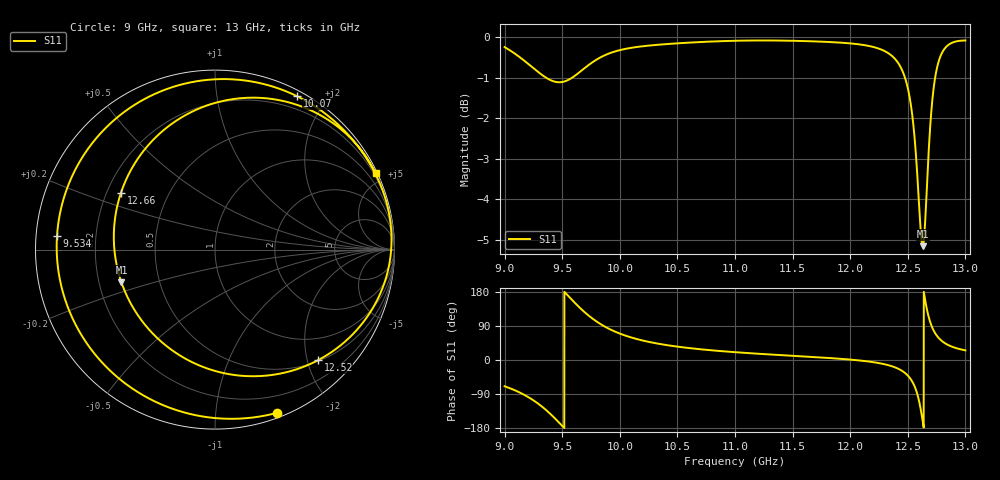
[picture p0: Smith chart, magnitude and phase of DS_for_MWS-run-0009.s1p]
! TOUCHSTONE file generated by CST DESIGN STUDIO
! Date and time: Tue Feb  4 15:51:16 2025
! Project name: C:\Work\MatlabApps\UnitCellOptimizationMatlab\CST\unitcell.cst
! Tree item: Tasks\Sweep1\SPara1\S-Parameters
! Header version: 2024
! Port assignment regex: !\s*Touchstone port\s*([0-9]+)\s*=\s*(CST MWS port|CST DES external port|CST DES block port)\s*(.+)\s* \(\"(.*)\"\)(\s*mode\s*([0-9]+))?.*
! Touchstone port assignment:
! Touchstone port 1 = CST DES external port 1 ("")
# GHz S MA R 50
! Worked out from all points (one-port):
!   4001 points, 9 GHz to 13 GHz, reference 50 ohm
!   lowest |S11| = -5.2 dB at 12.63 GHz (marker M1), VSWR 3.47, Z = 14.8 - j7.77 ohm
!   |S11| at or under -10 dB: nowhere
!   S11 on the Smith chart (normalised r, x): 9 GHz: 0.04, -1.45; 9.534 GHz: 0.06, +0.04; 10.07 GHz: 0.06, +1.67; 12.52 GHz: 0.52, -2.19; 12.66 GHz: 0.26, +0.26; 13 GHz: 0.09, +4.43
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9  0.9725 -69.3
9.165  0.9371 -91.0
9.285  0.9076 -113.8
9.389  0.8867 -140.0
9.5  0.8807 -173.9
9.534  0.8835 175.0
9.646  0.9046 139.8
9.743  0.9273 113.9
9.852  0.9477 91.3
10  0.9642 69.7
10.074  0.9692 61.8
10.5  0.983 35.3
11  0.9902 20.6
11.5  0.9902 11.1
12  0.9828 1.1
12.354  0.9507 -15.7
12.5  0.8657 -41.1
12.517  0.8418 -47.1
12.583  0.6747 -90.4
12.606  0.5944 -120.0
12.629  0.5524 -160.7
12.656  0.6116 149.1
12.681  0.7216 114.1
12.707  0.819 89.5
12.746  0.9062 66.7
12.788  0.9509 52.2
12.871  0.9825 36.7
13  0.991 25.4
